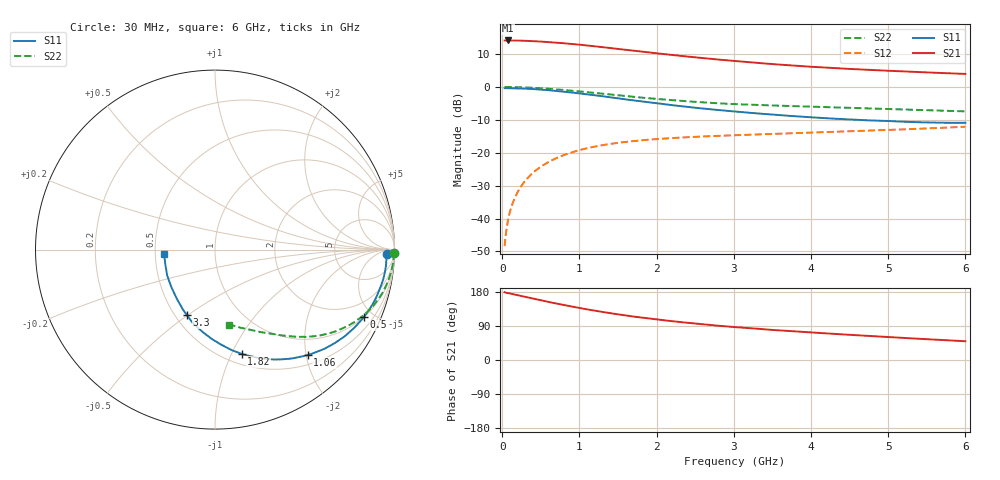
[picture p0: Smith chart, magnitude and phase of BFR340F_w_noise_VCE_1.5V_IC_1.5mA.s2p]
! Infineon Technologies  Discrete & RF Semiconductors
! BFR340F
! VCE =  1.5 V,  IC =  1.5 mA
! Common Emitter S-Parameters:  Nov 2015
# GHz  S  MA  R  50
!  f  S11  S21  S12  S22
! GHz  MAG  ANG  MAG  ANG  MAG  ANG  MAG  ANG
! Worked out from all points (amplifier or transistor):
!   206 points, 30 MHz to 6 GHz, reference 50 ohm
!   highest |S21| = 14.1 dB at 70 MHz (marker M1)
!   |S21| within 3 dB of that: start of sweep to 1.662 GHz
!   unconditionally stable (mu >= 1): 5.056 GHz to end of sweep
!   at 200 MHz: K = 0.05, MSG = 23.0 dB, |S12| = -31.9 dB
!   at 1.56 GHz: K = 0.44, MSG = 14.1 dB, |S12| = -16.8 dB
!   at 6 GHz: K = 1.04, MAG = 6.8 dB, |S12| = -12.1 dB
!   lowest NFmin = 0.73 dB at 450 MHz
!   S11 on the Smith chart (normalised r, x): 30 MHz: 33, -19; 500 MHz: 1.00, -4.41; 1.06 GHz: 0.67, -2.03; 1.82 GHz: 0.60, -1.09; 3.3 GHz: 0.57, -0.49; 6 GHz: 0.56, -0.03
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0.03  0.9561 -1.5  5.066 178.9  0.0038 88.4  0.997 -1.0
0.06  0.9566 -3.1  5.031 177.1  0.0076 87.3  0.9969 -2.0
0.07  0.9564 -3.5  5.078 176.5  0.009 87.9  0.9966 -2.3
0.13  0.9556 -6.4  5.062 174.3  0.0166 86.1  0.9946 -4.3
0.22  0.9495 -11.0  5.053 170.1  0.0279 83.1  0.9886 -7.3
0.36  0.9334 -17.8  4.988 163.8  0.0451 78.9  0.9745 -11.8
0.5  0.911 -24.4  4.886 157.6  0.0614 74.9  0.9546 -16.2
0.72  0.8651 -34.4  4.689 148.1  0.0846 68.9  0.9145 -22.5
0.9  0.823 -42.2  4.494 141.0  0.1012 64.4  0.8762 -27.4
1.04  0.7863 -47.9  4.328 135.8  0.1126 61.3  0.8449 -30.7
1.06  0.7811 -48.7  4.303 135.1  0.1141 60.8  0.8403 -31.2
1.2  0.7456 -54.3  4.14 130.1  0.1241 58.0  0.8087 -34.4
1.4  0.6951 -61.8  3.894 123.5  0.1361 54.5  0.7648 -38.4
1.6  0.6453 -68.8  3.665 117.3  0.146 51.5  0.7242 -41.9
1.82  0.5997 -75.7  3.422 111.5  0.1549 48.9  0.6852 -45.2
2.02  0.5603 -81.6  3.223 106.6  0.1617 46.9  0.6536 -47.8
2.56  0.4741 -96.5  2.77 94.9  0.1757 43.5  0.5858 -53.9
3.1  0.4142 -109.4  2.424 85.6  0.1858 41.9  0.5427 -58.7
3.3  0.3958 -113.5  2.318 82.6  0.1892 41.7  0.532 -60.1
4.1  0.3394 -130.4  1.992 71.5  0.2031 42.0  0.4976 -64.8
5.1  0.2992 -153.8  1.739 59.3  0.2239 43.5  0.4567 -72.1
6  0.2851 -175.5  1.575 49.5  0.2483 45.4  0.4249 -79.6
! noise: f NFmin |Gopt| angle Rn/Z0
0.45  0.73  0.76  4  0.5
0.9  0.74  0.73  13  0.54
1.9  1.08  0.59  24  0.46
2.4  1.18  0.55  34  0.44
